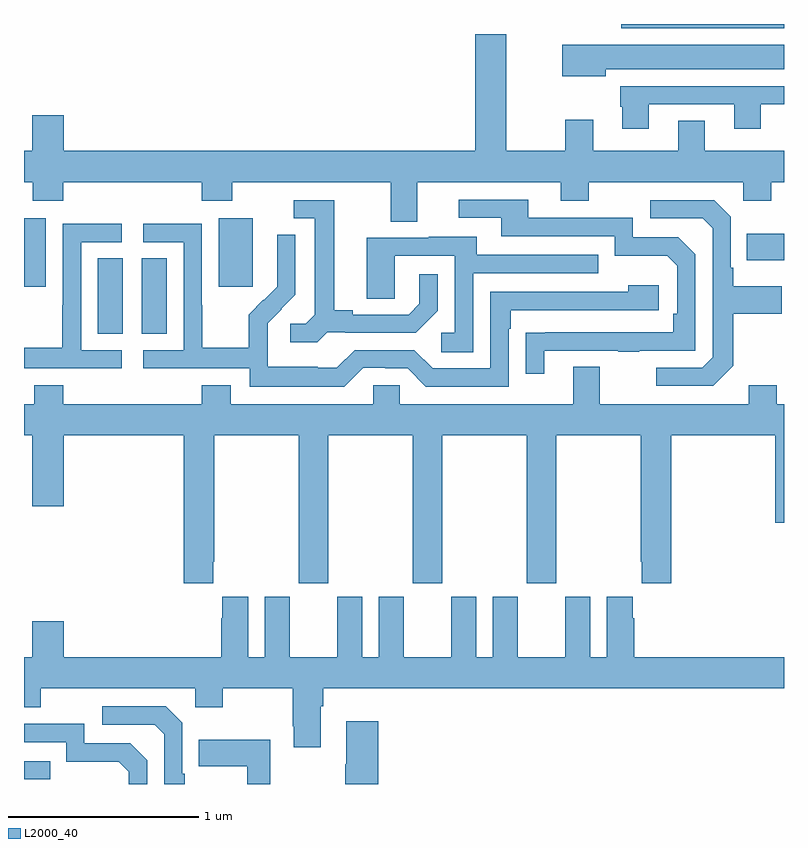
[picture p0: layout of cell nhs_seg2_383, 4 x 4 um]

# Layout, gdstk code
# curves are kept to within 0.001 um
import gdstk
lib = gdstk.Library(unit=1e-6, precision=1e-09)
def R(c, l, rs):  # rectangles x0, y0, x1, y1
    for r in rs: c.add(gdstk.rectangle(r[:2], r[2:], *l))
def P(c, l, *ps):  # polygons
    for p in ps: c.add(gdstk.Polygon(p, *l))
L2000_40 = (2000, 40)

nhs_seg2_383 = lib.new_cell('nhs_seg2_383')
R(nhs_seg2_383, L2000_40, [(129,645.825,129.137,645.921), (129.389,648.169,129.52,648.566), (129.62,648.169,129.751,648.566), (129,648.417,129.115,648.778), (130.025,648.417,130.204,648.778), (132.805,648.557,133,648.697), (132.143,649.778,133,649.8)])
P(nhs_seg2_383, L2000_40, [(129.208,649.321),(129.044,649.321),(129.044,649.132),(129,649.132),(129,648.968),(129.046,648.968),(129.046,648.869),(129.206,648.869),(129.206,648.968),(129.935,648.968),(129.935,648.869),(130.095,648.869),(130.095,648.968),(130.931,648.968),(130.931,648.76),(131.071,648.76),(131.071,648.968),(131.825,648.968),(131.825,648.869),(131.973,648.869),(131.973,648.968),(132.786,648.968),(132.786,648.869),(132.933,648.869),(132.933,648.968),(133,648.968),(133,649.132),(132.583,649.132),(132.583,649.292),(132.443,649.292),(132.443,649.132),(131.995,649.132),(131.995,649.297),(131.848,649.297),(131.848,649.132),(131.539,649.132),(131.539,649.747),(131.375,649.747),(131.375,649.132),(129.208,649.132)],
  [(132.061,649.562),(133,649.562),(133,649.69),(131.832,649.69),(131.832,649.526),(132.061,649.526)],
  [(132.289,649.377),(132.737,649.377),(132.737,649.248),(132.877,649.248),(132.877,649.377),(133,649.377),(133,649.473),(132.137,649.473),(132.137,649.365),(132.149,649.365),(132.149,649.248),(132.289,649.248)],
  [(131.737,648.081),(132.127,648.081),(132.127,648.076),(132.239,648.076),(132.239,648.081),(132.534,648.081),(132.534,648.588),(132.444,648.678),(132.204,648.678),(132.204,648.78),(131.653,648.78),(131.653,648.876),(131.289,648.876),(131.289,648.78),(131.513,648.78),(131.513,648.684),(132.108,648.684),(132.108,648.581),(132.385,648.581),(132.438,648.528),(132.438,648.274),(132.418,648.274),(132.418,648.177),(131.641,648.176),(131.641,647.958),(131.737,647.958)],
  [(132.733,648.001),(132.733,648.274),(132.989,648.274),(132.989,648.421),(132.733,648.421),(132.733,648.517),(132.72,648.517),(132.72,648.786),(132.633,648.873),(132.297,648.873),(132.297,648.777),(132.573,648.777),(132.624,648.726),(132.624,648.045),(132.57,647.991),(132.327,647.991),(132.327,647.895),(132.627,647.895)],
  [(130.596,648.177),(130.69,648.177),(130.69,648.174),(131.062,648.174),(131.178,648.29),(131.178,648.484),(131.081,648.484),(131.081,648.327),(131.024,648.27),(130.729,648.27),(130.729,648.293),(130.633,648.293),(130.633,648.873),(130.419,648.873),(130.419,648.777),(130.529,648.777),(130.529,648.269),(130.482,648.222),(130.401,648.222),(130.401,648.125),(130.544,648.125)],
  [(129.514,648.084),(129.3,648.084),(129.3,648.651),(129.514,648.651),(129.514,648.75),(129.204,648.75),(129.204,648.32),(129.202,648.32),(129.202,648.097),(129,648.097),(129,647.988),(129.514,647.988)],
  [(130.785,647.991),(130.901,647.991),(130.901,647.988),(131.019,647.988),(131.115,647.892),(131.55,647.892),(131.55,648.197),(131.563,648.197),(131.563,648.294),(132.34,648.294),(132.34,648.424),(132.179,648.424),(132.179,648.39),(131.454,648.39),(131.454,647.988),(131.151,647.988),(131.055,648.084),(130.74,648.084),(130.647,647.991),(130.547,647.991),(130.547,647.995),(130.284,647.995),(130.284,648.129),(130.282,648.129),(130.282,648.226),(130.428,648.374),(130.428,648.692),(130.332,648.692),(130.332,648.538),(130.334,648.538),(130.334,648.416),(130.263,648.345),(130.26,648.348),(130.183,648.271),(130.183,648.097),(129.939,648.097),(129.939,648.32),(129.936,648.32),(129.936,648.75),(129.627,648.75),(129.627,648.651),(129.84,648.651),(129.84,648.084),(129.627,648.084),(129.627,647.988),(130.188,647.988),(130.188,647.891),(130.685,647.891)],
  [(131.364,648.489),(132.023,648.489),(132.023,648.585),(131.383,648.585),(131.383,648.679),(131.129,648.679),(131.129,648.675),(130.805,648.675),(130.805,648.355),(130.95,648.355),(130.95,648.579),(131.268,648.579),(131.268,648.174),(131.196,648.174),(131.196,648.073),(131.364,648.073)],
  [(129.997,646.969),(130.002,646.969),(130.002,647.636),(130.447,647.636),(130.447,646.857),(130.602,646.857),(130.602,647.636),(131.047,647.636),(131.047,646.857),(131.202,646.857),(131.202,647.636),(131.647,647.636),(131.647,646.857),(131.802,646.857),(131.802,647.636),(132.247,647.636),(132.247,646.969),(132.251,646.969),(132.251,646.857),(132.407,646.857),(132.407,647.636),(132.953,647.636),(132.953,647.175),(133,647.175),(133,647.8),(132.963,647.8),(132.963,647.899),(132.815,647.899),(132.815,647.8),(132.031,647.8),(132.031,647.995),(131.891,647.995),(131.891,647.8),(130.977,647.8),(130.977,647.898),(130.839,647.898),(130.839,647.8),(130.087,647.8),(130.087,647.899),(129.935,647.899),(129.935,647.8),(129.206,647.8),(129.206,647.899),(129.053,647.899),(129.053,647.8),(129,647.8),(129,647.636),(129.044,647.636),(129.044,647.262),(129.208,647.262),(129.208,647.636),(129.842,647.636),(129.842,646.857),(129.997,646.857)],
  [(130.561,646.208),(130.574,646.208),(130.574,646.304),(133,646.304),(133,646.468),(132.212,646.468),(132.212,646.673),(132.205,646.673),(132.205,646.786),(132.068,646.786),(132.068,646.468),(131.98,646.468),(131.98,646.786),(131.849,646.786),(131.849,646.468),(131.599,646.468),(131.599,646.786),(131.468,646.786),(131.468,646.468),(131.38,646.468),(131.38,646.786),(131.249,646.786),(131.249,646.468),(130.999,646.468),(130.999,646.786),(130.868,646.786),(130.868,646.468),(130.78,646.468),(130.78,646.786),(130.649,646.786),(130.649,646.468),(130.399,646.468),(130.399,646.786),(130.268,646.786),(130.268,646.468),(130.18,646.468),(130.18,646.786),(130.043,646.786),(130.043,646.673),(130.037,646.673),(130.037,646.468),(129.208,646.468),(129.208,646.657),(129.044,646.657),(129.044,646.468),(129,646.468),(129,646.205),(129.087,646.205),(129.087,646.304),(129.9,646.304),(129.9,646.205),(130.047,646.205),(130.047,646.304),(130.414,646.304),(130.414,646.105),(130.421,646.105),(130.421,645.993),(130.561,645.993)],
  [(129.847,645.853),(129.834,645.853),(129.834,646.122),(129.747,646.209),(129.411,646.209),(129.411,646.113),(129.687,646.113),(129.738,646.062),(129.738,645.8),(129.847,645.8)],
  [(130.864,646.129),(130.697,646.129),(130.697,645.905),(130.69,645.905),(130.69,645.8),(130.864,645.8)],
  [(129.648,645.924),(129.558,646.014),(129.318,646.014),(129.318,646.116),(129,646.116),(129,646.02),(129.222,646.02),(129.222,645.917),(129.499,645.917),(129.552,645.864),(129.552,645.8),(129.648,645.8)],
  [(130.297,646.033),(129.919,646.033),(129.919,645.893),(130.176,645.893),(130.176,645.8),(130.297,645.8)])

lib.write_gds('nhs_seg2_383.gds')
